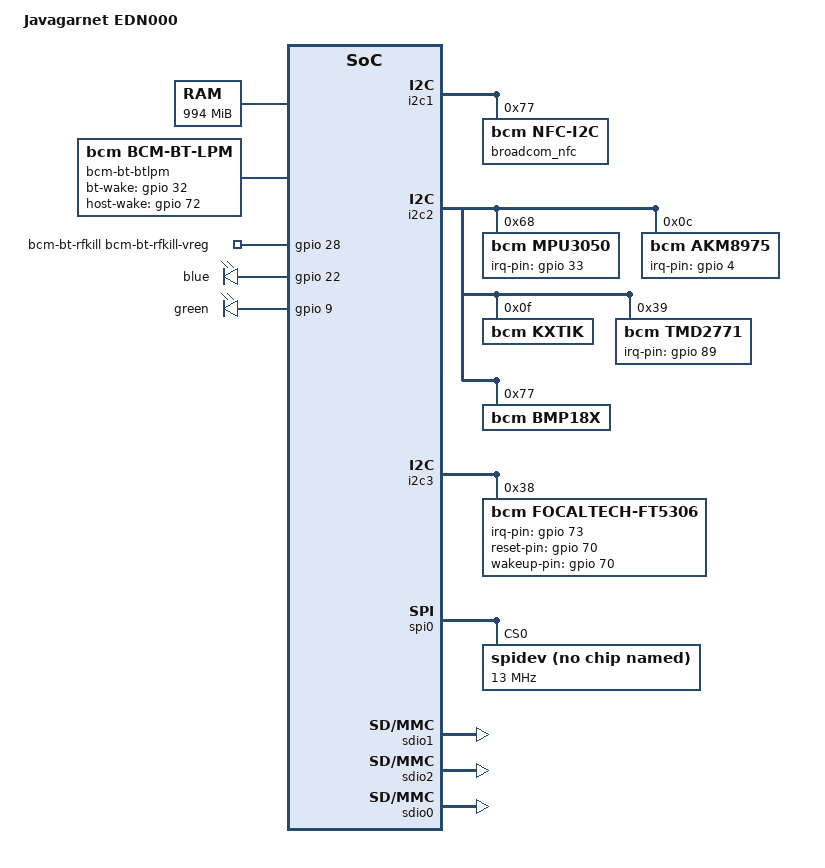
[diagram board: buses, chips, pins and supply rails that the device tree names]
/* Java_garnet_edn000 Dts file */

/dts-v1/;

/include/ "java.dtsi"
/include/ "java_garnet_bcmpmu_edn000.dtsi"

/ {
	model = "Javagarnet EDN000";
	compatible = "bcm,java";

	chosen {
		bootargs = "console=ttyS0,115200n8 mem=994M gpt androidboot.console=ttyS0 crash_ramdump=1 logbuf_nocache=1";
	};

	memory@81e00000 {
		device_type = "memory";
		reg = <0x81e00000 0x3e200000>; /* 994 MB */
	};

	wd-tapper {
		count = <300>; /* Time in seconds */
		ch-num = <1>; /* Kona hub timer Channel number */
		timer-name = "aon-timer";
	};

	usb-phy@0x3F130000 {
		interrupts = <0 128 0x04>;
		chipreg-virtual-mem-base = <0x35004000>;
		usb-ahb-clk-name = "usb_otg_clk";
		mdio-mstr-clk-name = "mdiomaster";
	};
	usb-hsotgctrl@0x3F130000 {
		chipreg-virtual-mem-base = <0x35004000>;
		usb-ahb-clk-name = "usb_otg_clk";
		mdio-mstr-clk-name = "mdiomaster";
	};


	uart@3e000000 {
		clock-frequency = <26000000>;
		port-name = "console";
		clk-name = "uartb_clk";
	};

	uart@3e001000 {
		clock-frequency = <48000000>;
		port-name = "bluetooth";
		clk-name = "uartb2_clk";
	};

	uart@3e002000 {
		clock-frequency = <26000000>;
		port-name = "gps";
		clk-name = "uartb3_clk";
		/*If power-save-enable is set Change
		* PADCTRL_UBRTSN from UART3_RTSN to
		* UBRTSN (Debug UART) when GPS is inactive.*/
		power-save-enable = <1>;

	};

	i2c0: i2c@3e016000 {
		speed = <5>; /* BSC_BUS_SPEED_400 K */
		dynamic-speed = <1>;
		bsc-clk = "bsc1_clk";
		bsc-apb-clk = "bsc1_apb_clk";
		retries = <1>;
		is-pmu-i2c = <0>;
		fs-ref-frequency = <13000000>;
		hs-ref-frequency = <104000000>;
	};

	i2c1: i2c@3e017000 {
		speed = <5>; /* BSC_BUS_SPEED_400 K */
		dynamic-speed = <1>;
		bsc-clk = "bsc2_clk";
		bsc-apb-clk = "bsc2_apb_clk";
		retries = <3>;
		is-pmu-i2c = <0>;
		fs-ref-frequency = <13000000>;
		hs-ref-frequency = <104000000>;

		broadcom_nfc@77 {
			compatible = "bcm,nfc-i2c";
			reg = <0x77>;
			wake_gpio = <25>;
			en_gpio = <100>;
			irq_gpio = <90>;
			enable_txfifo = <1>;
			enable_rxfifo = <1>;
		};

	};

	i2c2: i2c@3e018000 {
		speed = <5>; /* BSC_BUS_SPEED_400 K */
		dynamic-speed = <1>;
		bsc-clk = "bsc3_clk";
		bsc-apb-clk = "bsc3_apb_clk";
		retries = <1>;
		is-pmu-i2c = <0>;
		fs-ref-frequency = <13000000>;
		hs-ref-frequency = <104000000>;
		mpu3050@68 {
			compatible = "bcm,mpu3050";
			reg = <0x68>;
			gpio-irq-pin = <&gpio 33 0>;
			int-config = <0x10>;
			level-shifter = <0>;
			orientation = <0 0xFFFFFFFF 0
					0xFFFFFFFF 0 0
					0 0 0xFFFFFFFF>;
		};
		akm8975@0c {
			compatible = "bcm,akm8975";
			reg = <0x0c>;
			gpio-irq-pin = <&gpio 4 0>;
			layout = <6>;
		};

		kxtik@0f {
                        compatible = "bcm,kxtik";
                        reg = <0x0f>;
			/* Add gpio-irq-pin if using the same */
                        min_interval = <5>;
                        poll_interval = <200>;
                        axis_map_x = <0>;
                        axis_map_y = <1>;
                        axis_map_z = <2>;
                        negate_x = <1>;
                        negate_y = <0>;
                        negate_z = <1>;
                        res_12bit = <64>;
                        g_range = <0>;
                };

		tmd2771@39 {
			compatible = "bcm,tmd2771";
			reg = <0x39>;
			gpio-irq-pin = <&gpio 89 0>;
			calibrate_target_param = <300000>;
			als_time_param = <200>;
			scale_factor_param = <1>;
			gain_trim_param = <512>;
			filter_history_param = <3>;
			filter_count_param = <1>;
			gain_param = <2>;
			prox_threshold_hi_param = <646>;
			prox_threshold_lo_param = <638>;
			als_threshold_hi_param = <1>;
			als_threshold_lo_param = <0>;
			prox_int_time_param = <238>;
			prox_adc_time_param = <255>;
			prox_wait_time_param = <238>;
			prox_intr_filter_param = <17>;
			prox_config_param = <0>;
			prox_pulse_cnt_param = <96>;
			prox_gain_param = <34>;
			prox_win_sw = <100>;
		};

		bmp18x@77 {
                         compatible = "bcm,bmp18x";
                         reg = <0x77>;
			 regulator-name = "cam2";
		};
	};

	i2c3: i2c@3e01c000 {
		speed = <5>; /* BSC_BUS_SPEED_400 K */
		dynamic-speed = <1>;
		bsc-clk = "bsc4_clk";
		bsc-apb-clk = "bsc4_apb_clk";
		retries = <1>;
		is-pmu-i2c = <0>;
		fs-ref-frequency = <13000000>;
		hs-ref-frequency = <104000000>;

		FocalTech-Ft5306@46 {
			compatible = "bcm,FocalTech-Ft5306";
			reg = <0x38>;
			gpio-irq-pin = <&gpio 73 0>;
			gpio-reset-pin = <&gpio 70 0>;
			gpio-wakeup-pin = <&gpio 70 0>;
			x-max-value = <720>;
			y-max-value = <1280>;
			use-irq = <1>;
			power = "camldo2";
		};
	};

	i2c4: i2c@3500d000 {
		speed = <7>; /* BSC_BUS_SPEED_HS */
		dynamic-speed = <0>;
		bsc-clk = "pmu_bsc_clk";
		bsc-apb-clk = "pmu_bsc_apb";
		retries = <5>;
		is-pmu-i2c = <1>;
		fs-ref-frequency = <13000000>;
		hs-ref-frequency = <26000000>;
	};

        bcm-bt-btlpm {
                compatible = "bcm,bcm-bt-lpm";
                bt-wake-gpio = <&gpio 32 0>;
                host-wake-gpio = <&gpio 72 0>;
        };

	spi0: spi@0x3E004000 {
		enable-dma = <1>;
		cs-line = <1>;
		mode = <0x23>;

		spidev@0x0 {
			compatible = "bcm,spidev";
			reg = <0x0>;
			spi-max-frequency = <13000000>;
			spi-loop = <0x20>;
		};
	};

        bcm-bt-rfkill {
                compatible = "bcm,bcm-bt-rfkill";
                bcm-bt-rfkill-vreg-gpio = <&gpio 28 0>;
        };

	iommu_mm: iommu-mm {
		compatible = "bcm,iommu-m4u";
		iova_begin  = <0x80000000>;
		iova_size   = <0x80000000>;
		errbuf_size = <0x00001000>;
		skip_enable = <1>;
	};

	iovmm_mm: iovmm-mm {
		compatible = "bcm,iovmm";
		base = <0x80000000>;
		size = <0x30000000>;
		order = <0>;
	};

	iovmm_mm_hwwr: iovmm-mm-hwwr {
		compatible = "bcm,iovmm";
		base = <0xb0000000>;
		size = <0x40000000>;
		order = <0>;
	};

	iovmm_mm_256mb: iovmm-mm-256mb {
		compatible = "bcm,iovmm";
		base = <0xf0000000>;
		size = <0x0ff00000>;
		order = <0>;
	};

	ion-config {
		compatible = "bcm,ion-config";
		/* Workaround: Use a separate iova pool for hwwr buffers */
		mask_hwwr = <0x4>;
		mask_256M = <0x221>;
	};

	ion-system {
		compatible = "bcm,ion";
		id = <0>;
		type = <0>;
		iommu = <&iommu_mm>;
		iovmm = <&iovmm_mm_256mb>;
	};

	ion-system-extra {
		compatible = "bcm,ion";
		id = <1>;
		type = <0>;
		iommu = <&iommu_mm>;
		iovmm = <&iovmm_mm>;
	};

	ion-system-hwwr {
		compatible = "bcm,ion";
		id = <2>;
		type = <0>;
		iommu = <&iommu_mm>;
		iovmm = <&iovmm_mm_hwwr>;
	};

	ion-carveout {
		compatible = "bcm,ion";
		id = <9>;
		type = <2>;
		base  = <0x90000000>;
		limit = <0xa0000000>;
		size  = <0x01000000>;
		lmk_enable = <0>;
		lmk_min_score_adj = <411>;
		lmk_min_free = <32>;
		iommu = <&iommu_mm>;
		iovmm = <&iovmm_mm_256mb>;
	};

	ion-cma {
		compatible = "bcm,ion";
		id = <5>;
		type = <4>;
		base  = <0x90000000>;
		limit = <0xa0000000>;
		size  = <0x00000000>;
		lmk_enable = <1>;
		lmk_min_score_adj = <411>;
		lmk_min_free = <32>;
		iommu = <&iommu_mm>;
		iovmm = <&iovmm_mm_256mb>;
	};

	soc-back-camera {
		compatible = "bcm,soc-camera";
		reg = <0x36 0x0>;
		bus-id = <0>;
		i2c-type = "ov5648";
		i2c-addr = <0x36>;
		i2c-adapter-id = <0>;
		module-name = "ov5648";
		if-type = <1>;
		if-mode = <3>;
		orientation = <1>;
		facing = <1>;
		lanes = <2>;
		channel = <0>;
		phy-rate = <0>;
		pix-clk = <0>;
		regulators = "lvldo1_uc", "mmc1_vcc", "mmc2_vcc", "lvldo2_uc";
	};

	soc-front-camera {
		compatible = "bcm,soc-camera";
		reg = <0x3e 0x0>;
		bus-id = <0>;
		i2c-type = "ov7692";	/* i2c_board_info type */
		i2c-addr = <0x3e>;	/* i2c_board_info addr */
		i2c-adapter-id = <0>;
		module-name = "ov7692";
		if-type = <1>;		/* V4L2_SUBDEV_SENSOR_SERIAL */
		if-mode = <3>;		/* V4L2_SUBDEV_SENSOR_MODE_SERIAL_CSI2 */
		orientation = <1>;	/* V4L2_SUBDEV_SENSOR_LANDSCAPE */
		facing = <0>;		/* V4L2_SUBDEV_SENSOR_FRONT */
		lanes = <1>;
		channel = <1>;
		phy-rate = <0>;
		pix-clk = <0>;
		regulators = "lvldo2_uc", "mmc1_vcc", "mmc2_vcc", "lvldo1_uc";
	};

	kona-fb {
		module-name = "NT35512";
		reg-name = "cam2";
		rst-gpio = <&gpio 8 0>;
		detect-gpio = <&gpio 10 0>;
		detect-gpio-val = <0>;
		rst-setup = <700>;	/* 700us */
		rst-pulse = <1000>;	/* 1ms */
		rst-hold = <100000>;	/* 100ms */
		col-mod-i = <3>;
		col-mod-o = <2>;
		width = <480>;
		height = <854>;
		/* rst-active-high */	/* Commented => Active Low */
		vmode;
		/* vburst */	/* Non-burst mode */
		/* te-ctrl; */		/* Tearing Effect Control disabled */
		fps = <60>;
		lanes = <2>;
		cmnd-LP;		/* Commands in LP mode*/
		hs-bitrate = <333000000>;
		lp-bitrate = <8000000>;	/* 8mbps */
		desense-offset = <2400000>;  /* +2.4Mbps */
		iommu = <&iommu_mm>;
		iovmm = <&iovmm_mm>;
		rotation = <180>;
	};

	kona-fb-2 {
		module-name = "OTM8018B";
		reg-name = "cam2";
		rst-gpio = <&gpio 8 0>;
		detect-gpio = <&gpio 10 0>;
		detect-gpio-val = <1>;
		rst-setup = <700>;	/* 700us */
		rst-pulse = <1000>;	/* 1ms */
		rst-hold = <100000>;	/* 100ms */
		col-mod-i = <3>;
		col-mod-o = <2>;
		width = <480>;
		height = <854>;
		/* rst-active-high */	/* Commented => Active Low */
		vmode;
		/* vburst */		/* Non-burst mode */
		/* te-ctrl; */		/* Tearing Effect Control disabled */
		fps = <60>;
		lanes = <2>;
		cmnd-LP;		/* Commands in LP mode*/
		hs-bitrate = <333000000>;
		lp-bitrate = <8000000>;	/* 8mbps */
		desense-offset = <2400000>;  /* +2.4Mbps */
		iommu = <&iommu_mm>;
		iovmm = <&iovmm_mm>;
		rotation = <180>;
	};

	tmon@0x34008000 {
		compatible = "bcm,tmon";
		reg = <0x34008000 0x1000>;
		interrupts = <0 183 4>;
		chipreg_addr = <0x35004000 0x1000>;
		thold_size = <8>; /*number of threshold levels*/
		poll_rate_ms = <30000>;
		hysteresis = <0>;
		flags = <5>;
		interval_ms = <8>;
		/*sw shdwn temp is 120*/
		thold = <55 1
			58 1
			63 1
			65 1
			70 1
			80 1
			115 4
			120 2>;
		tmon_apb_clk = "tmon_apb";
		tmon_1m_clk = "tmon_1m_clk";
		falling = <5>; /*fall back temperature offset*/
	};

    tmon-thermal@0x34008000 {
        compatible = "bcm,tmon-thermal";
        reg  = <0x34008000 0x1000>, <0x35004000 0x1000>;
        interrupts = <0 183 4>;
        hysteresis = <5>;
        flags = <5>;
        interval_ms = <5>;
        poll_rate_ms = <30000>;
        tmon_apb_clk = "tmon_apb";
        tmon_1m_clk = "tmon_1m_clk";
        shutdown_temp = <120>;

		trip0 {
			type = "active";
			temp = <0>;
			max_freq = <1200000>;
			max_brightness = <32>;
		};
		trip1 {
			type = "active";
			temp = <55>;
			max_freq = <0>;
			max_brightness = <28>;
		};
		trip2 {
			type = "active";
			temp = <58>;
			max_freq = <800000>;
			max_brightness = <0>;
		};
		trip3 {
			type = "active";
			temp = <63>;
			max_freq = <0>;
			max_brightness = <25>;
		};
		trip4 {
			type = "active";
			temp = <65>;
			max_freq = <600000>;
			max_brightness = <0>;
		};
		trip5 {
			type = "active";
			temp = <70>;
			max_freq = <312000>;
			max_brightness = <22>;
		};
		trip6 {
			type = "critical";
			temp = <115>;
			max_freq = <0>;
			max_brightness = <0>;
		};
    };

	memc@35008000 {
		compatible = "bcm,memc";
		reg = <0x35008000 0x1000>;
		interrupts = <0 61 4>;
		flags = <0xF3>;
		chipreg_base = <0x35004000 0x1000>;
		memc0_aphy_base = <0x35008400 0x1000>;
		seq_busy_val = <2>;
		max_pwr = <3>;
		temp_period = <0xA09E6C>; /*400ms*/
		temp_tholds = <7 1>;
		num_thold = <1>;
		pll_freq = <0 0 0 0
				0x3D 0 1 0
				0x50 0 1 0>;
	};

	sdio1 {
		compatible = "bcm,sdhci";
		reg = <0x3F190000 10000>;
		interrupts = <0 76 0x04>;
		id = <1>;
		data-pullup = <0>;
		is-8bit = <1>;
		devtype = <2>;		/*SDIO_DEV_TYPE_EMMC*/
		flags = <3>;		/*NON_REMOVABLE | RPM_EN*/
		pm_caps = <1>;		/*MMC_PM_KEEP_POWER*/
		peri-clk-name = "sdio2_clk";
		ahb-clk-name = "sdio2_ahb_clk";
		sleep-clk-name = "sdio2_sleep_clk";
		peri-clk-rate = <52000000>;
		vddsdmmc-regulator-name = "cam1";
	};

	sdio2 {
		compatible = "bcm,sdhci";
		reg = <0x3F1A0000 10000>;
		interrupts = <0 74 0x04>;
		id = <2>;
		data-pullup = <0>;
		devtype = <1>;		/*SDIO_DEV_TYPE_WIFI*/
		flags = <2>;		/*REMOVABLE | RPM_EN*/
		peri-clk-name = "sdio3_clk";
		ahb-clk-name = "sdio3_ahb_clk";
		sleep-clk-name = "sdio3_sleep_clk";
		peri-clk-rate = <48000000>;
	};

	sdio0 {
		compatible = "bcm,sdhci";
		reg = <0x3F180000 10000>;
		interrupts = <0 77 0x04>;
		id = <0>;
		data-pullup = <0>;
		cd-gpio = <&gpio 91 0>;		/*SD_CARDDET_GPIO_PIN*/
		devtype = <0>;		/*SDIO_DEV_TYPE_SDMMC*/
		flags = <2>;		/*REMOVABLE | RPM_EN*/
		peri-clk-name = "sdio1_clk";
		ahb-clk-name = "sdio1_ahb_clk";
		sleep-clk-name = "sdio1_sleep_clk";
		peri-clk-rate = <48000000>;
		vddo-regulator-name = "vdd_sdio";
		vddsdxc-regulator-name = "vdd_sdxc";
	};

	timer {
		compatible = "arm,armv7-timer";
		interrupts = <1 13 0xf08>,
					<1 14 0xf08>;
	};

	wifi-driver {
		compatible = "bcm,bcm_wifi";
		wl-reset-gpio = <3>;
		host-wake-gpio = <74>;
		board-nvram-file = "/system/vendor/firmware/fw_wifi_nvram_4330.txt";
		module-name = "bcmdhd_4330";
	};

	keypad {
		row-num = <2>;
		col-num = <3>;
		row-col-count = <8>;
		key-name = "Vol Down Key", "Vol Up Key", "unused", "unused",
			"unused", "unused", "unused", "unused", "Camera Focus Key",
			"Camera Key", "unused", "unused", "unused", "unused",
			"unused", "unused", "unused", "unused", "unused",
			"unused", "unused", "unused", "unused", "unused",
			"unused", "unused", "unused", "unused", "unused",
			"unused", "unused", "unused", "unused", "unused",
			"unused", "unused", "unused", "unused", "unused",
			"unused", "unused", "unused", "unused", "unused",
			"unused", "unused", "unused", "unused", "unused",
			"unused", "unused", "unused", "unused", "unused",
			"unused", "unused", "unused", "unused", "unused",
			"unused", "unused", "unused", "unused", "unused";
		key-code = <114 115 0 0 0 0 0 0
			528 212 0 0 0 0 0 0
			0 0 0 0 0 0 0 0
			0 0 0 0 0 0 0 0
			0 0 0 0 0 0 0 0
			0 0 0 0 0 0 0 0
			0 0 0 0 0 0 0 0
			0 0 0 0 0 0 0 0>;
	};

	pwm-backlight {
		compatible = "bcm,pwm-backlight";
		reg = <0x0 0x0>;
		pwm-id = <2>;
		polarity = <1>;		/* Inverted polarity */
		pwm-period-ns = <99900>; /* ~10010 Hz */
		pwm-request-label = "backlight";
		bl-on-delay = <7000>;
		pwm_pin_name = <39>;	/*GPIO24, enum PIN_NAME defined in chip_pinmux.h*/
		pwm_pin_reboot_func = <25>;	/*GPIO24, enum PIN_FUNC defined in chip_pinmux.h*/
		brightness-levels = <0 1 2 3 4 5 6 7 8 9 10 11 12 13 14 15 16 17
							18 19 20 21 22 23 24 25 26 27 28 29 30 31 32>; /* Android calibrates to 32 levels */
		default-brightness-level = <32>; /* Array index */
		pb_enable_adapt_bright = <1>;
	};

	gpio-leds {
		compatible = "gpio-leds";

		blue {
			label = "blue";
			gpios = <&gpio 22 0>;
		};

		green {
			label = "green";
			gpios = <&gpio 9 0>;
		};
	};

	secure_mem {
		sec-mem-base = <0x9d800000>;
		sec-mem-size = <0x100000>;
	};

	secure_watchdog {
		compatible = "bcm,secure_watchdog";
	};
};
